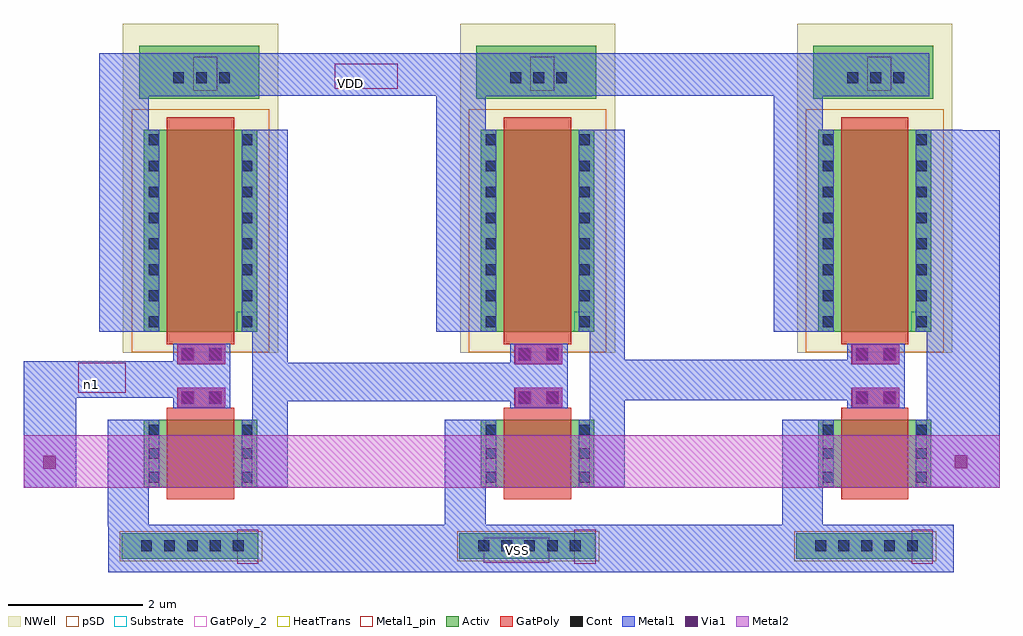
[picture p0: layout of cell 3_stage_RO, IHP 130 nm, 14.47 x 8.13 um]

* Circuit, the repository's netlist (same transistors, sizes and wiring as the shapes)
* Extracted by KLayout with SG13G2 LVS runset on : 05/12/2025 07:03

.SUBCKT 3_stage_RO
M$1 \$1 \$2 \$3 \$1 sg13_lv_nmos L=1u W=1u AS=0.34p AD=0.34p PS=2.68u PD=2.68u
M$2 \$1 \$3 \$4 \$1 sg13_lv_nmos L=1u W=1u AS=0.34p AD=0.34p PS=2.68u PD=2.68u
M$3 \$1 \$4 \$2 \$1 sg13_lv_nmos L=1u W=1u AS=0.34p AD=0.34p PS=2.68u PD=2.68u
M$4 \$8 \$2 \$3 \$8 sg13_lv_pmos L=1u W=3u AS=1.02p AD=1.02p PS=6.68u PD=6.68u
M$5 \$8 \$3 \$4 \$8 sg13_lv_pmos L=1u W=3u AS=1.02p AD=1.02p PS=6.68u PD=6.68u
M$6 \$8 \$4 \$2 \$8 sg13_lv_pmos L=1u W=3u AS=1.02p AD=1.02p PS=6.68u PD=6.68u
.ENDS 3_stage_RO

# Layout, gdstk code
from math import pi, radians
import gdstk
lib = gdstk.Library(unit=1e-6, precision=1e-09)
def R(c, l, rs):  # rectangles x0, y0, x1, y1
    for r in rs: c.add(gdstk.rectangle(r[:2], r[2:], *l))
def A(c, l, x, y, w, h, nx, ny, dx, dy):  # array of equal rectangles
    R(c, l, [(x+i*dx, y+j*dy, x+i*dx+w, y+j*dy+h) for i in range(nx) for j in range(ny)])
Activ = (1, 0)
GatPoly = (5, 0)
GatPoly_2 = (5, 2)
Cont = (6, 0)
Metal1 = (8, 0)
Metal1_pin = (8, 2)
Metal2 = (10, 0)
pSD = (14, 0)
Via1 = (19, 0)
NWell = (31, 0)
Substrate = (40, 0)
HeatTrans = (51, 0)

nmos = lib.new_cell('nmos')
R(nmos, Activ, [(0,0,0.3,0.3), (0,0,1.68,1), (1.38,0,1.68,0.3)])
R(nmos, GatPoly, [(0.34,-0.18,1.34,1.18)])
R(nmos, GatPoly_2, [(0.34,-0.18,1.34,1.18)])
A(nmos, Cont, 0.07, 0.07, 0.16, 0.16, 1, 3, 0, 0.35)
A(nmos, Cont, 1.45, 0.07, 0.16, 0.16, 1, 3, 0, 0.35)
R(nmos, Metal1, [(0.07,0,0.23,1), (1.45,0,1.61,1)])
R(nmos, Metal1_pin, [(0.07,0,0.23,1), (1.45,0,1.61,1)])
R(nmos, HeatTrans, [(0.34,-0.18,1.34,1.18)])
nmos.add(gdstk.Label('nmos', (0.84,0.5), layer=63, texttype=0))
nmos.add(gdstk.Label('nmos', (0.84,0.5), layer=51, texttype=0))

pmos = lib.new_cell('pmos')
R(pmos, Activ, [(0,0,0.3,0.3), (0,0,1.68,3), (1.38,0,1.68,0.3)])
R(pmos, GatPoly, [(0.34,-0.18,1.34,3.18), (0.34,-0.18,1.34,3.18)])
A(pmos, Cont, 0.07, 0.07, 0.16, 0.16, 1, 7, 0, 0.385)
A(pmos, Cont, 1.45, 0.07, 0.16, 0.16, 1, 7, 0, 0.385)
R(pmos, Cont, [(0.07,2.77,0.23,2.93), (1.45,2.77,1.61,2.93)])
R(pmos, Metal1, [(0.07,0,0.23,3), (0.07,0,0.23,3), (1.45,0,1.61,3), (1.45,0,1.61,3)])
R(pmos, pSD, [(-0.18,-0.3,1.86,3.3)])
R(pmos, NWell, [(-0.31,-0.31,1.99,3.31)])
R(pmos, Substrate, [(1.38,0,1.68,0.3)])
R(pmos, HeatTrans, [(0.34,-0.18,1.34,3.18)])
pmos.add(gdstk.Label('pmos', (0.84,1.5), layer=63, texttype=0))
pmos.add(gdstk.Label('pmos', (0.84,1.5), layer=51, texttype=0))

inverter22 = lib.new_cell('inverter22')
R(inverter22, Activ, [(16.035,-5.21,18.055,-4.83), (16.29,1.615,18.07,2.395)])
R(inverter22, GatPoly, [(16.855,-2.97,17.565,-2.67), (16.855,-2.325,17.565,-2.025)])
A(inverter22, Cont, 16.32, -5.095, 0.16, 0.16, 5, 1, 0.34, 0)
A(inverter22, Cont, 16.795, 1.845, 0.16, 0.16, 3, 1, 0.34, 0)
R(inverter22, Cont, [(17.68,-5.095,17.84,-4.935), (16.925,-2.9,17.085,-2.74), (16.925,-2.9,17.085,-2.74), (17.335,-2.9,17.495,-2.74), (16.925,-2.255,17.085,-2.095), (16.925,-2.255,17.085,-2.095), (17.335,-2.255,17.495,-2.095)])
R(inverter22, Metal1, [(15.83,-5.41,18.375,-4.705), (15.97,-5.285,18.165,-4.78), (15.825,-4.725,16.43,-3.15), (17.97,-4.15,18.495,1.155), (16.795,-2.975,17.645,-2.02), (15.7,-1.845,16.43,1.655), (15.7,1.65,18.005,2.285), (16.445,1.73,17.895,2.235)])
R(inverter22, Metal1_pin, [(17.745,-5.285,18.06,-4.78), (17.09,1.73,17.445,2.235)])
R(inverter22, Metal2, [(16.865,-2.965,17.565,-2.675), (16.865,-2.32,17.565,-2.03)])
R(inverter22, pSD, [(16.005,-5.25,18.115,-4.8)])
R(inverter22, Via1, [(16.915,-2.915,17.105,-2.725), (16.915,-2.915,17.105,-2.725), (16.915,-2.915,17.105,-2.725), (16.915,-2.915,17.105,-2.725), (16.915,-2.915,17.105,-2.725), (16.915,-2.915,17.105,-2.725), (17.325,-2.915,17.515,-2.725), (16.915,-2.27,17.105,-2.08), (16.915,-2.27,17.105,-2.08), (16.915,-2.27,17.105,-2.08), (16.915,-2.27,17.105,-2.08), (16.915,-2.27,17.105,-2.08), (16.915,-2.27,17.105,-2.08), (17.325,-2.27,17.515,-2.08), (17.325,-2.27,17.515,-2.08), (17.325,-2.27,17.515,-2.08), (17.325,-2.27,17.515,-2.08), (17.325,-2.27,17.515,-2.08), (17.325,-2.27,17.515,-2.08)])
R(inverter22, NWell, [(16.05,1.465,18.35,2.725)])
inverter22.add(gdstk.Reference(nmos, (18.04,-3.15), rotation=pi))
inverter22.add(gdstk.Reference(pmos, (16.36,-1.845)))
inverter22.add(gdstk.Label('VSS', (17.915,-4.955), layer=8, texttype=2))
inverter22.add(gdstk.Label('VDD', (17.28,2.07), layer=8, texttype=2))

via_stack_1 = lib.new_cell('via_stack$1')
R(via_stack_1, Metal1, [(-0.145,-0.145,0.145,0.145)])
R(via_stack_1, Metal2, [(-0.145,-0.145,0.145,0.145)])
R(via_stack_1, Via1, [(-0.095,-0.095,0.095,0.095)])

c_3_stage_ro = lib.new_cell('3_stage_RO')
R(c_3_stage_ro, Metal1, [(1.035,-3.41,8.49,-2.705), (-2.76,-2.16,-1.98,-0.825), (11.155,-2.16,11.71,3.145), (1.12,-0.875,4.47,-0.3), (6.14,-0.86,9.475,-0.255), (-2.765,-0.825,-0.54,-0.28), (-1.64,3.655,8.36,4.285)])
R(c_3_stage_ro, Metal1_pin, [(4.06,-3.27,5.03,-2.9), (-1.95,-0.75,-1.245,-0.3), (-1.95,-0.75,-1.245,-0.3), (1.85,3.76,2.785,4.13)])
R(c_3_stage_ro, Metal2, [(-2.76,-2.16,11.71,-1.375)])
c_3_stage_ro.add(gdstk.Reference(inverter22, (-17.34,2)))
c_3_stage_ro.add(gdstk.Reference(inverter22, (-12.34,2)))
c_3_stage_ro.add(gdstk.Reference(inverter22, (-7.34,2)))
c_3_stage_ro.add(gdstk.Reference(via_stack_1, (-2.38,-1.78)))
c_3_stage_ro.add(gdstk.Reference(via_stack_1, (11.14,-1.77)))
c_3_stage_ro.add(gdstk.Label('VSS', (4.56,-3.085), layer=8, texttype=2))
c_3_stage_ro.add(gdstk.Label('VDD', (2.085,3.84), layer=8, texttype=2))
c_3_stage_ro.add(gdstk.Label('n1', (-1.755,-0.63), layer=8, texttype=2))

lib.write_gds('3_stage_RO.gds')
